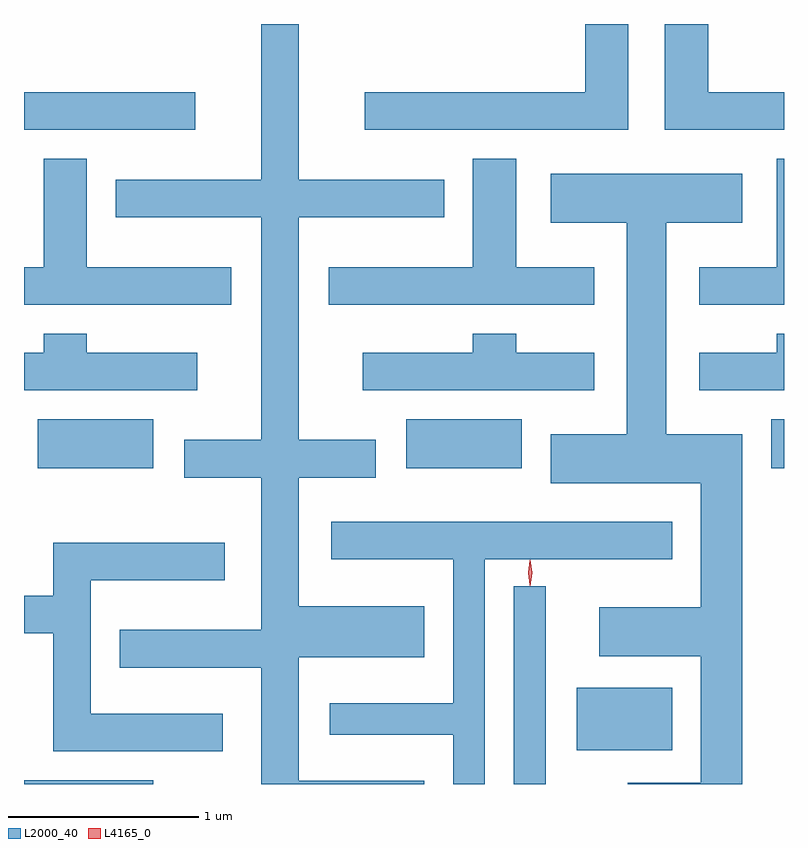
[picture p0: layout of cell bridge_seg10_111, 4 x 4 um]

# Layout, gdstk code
import gdstk
lib = gdstk.Library(unit=1e-6, precision=1e-09)
def R(c, l, rs):  # rectangles x0, y0, x1, y1
    for r in rs: c.add(gdstk.rectangle(r[:2], r[2:], *l))
def P(c, l, *ps):  # polygons
    for p in ps: c.add(gdstk.Polygon(p, *l))
L2000_40 = (2000, 40)
L4165_0 = (4165, 0)

bridge_seg10_111 = lib.new_cell('bridge_seg10_111')
R(bridge_seg10_111, L2000_40, [(1647.623,2141.133,1648.304,2141.154), (1650.201,2141.133,1650.369,2142.173), (1650.531,2141.311,1651.034,2141.639), (1647.696,2142.796,1648.304,2143.054), (1649.636,2142.796,1650.244,2143.054), (1651.556,2142.796,1651.623,2143.054), (1647.623,2144.576,1648.524,2144.774)])
P(bridge_seg10_111, L2000_40, [(1649.729,2141.149),(1649.069,2141.149),(1649.069,2141.801),(1649.729,2141.801),(1649.729,2142.069),(1649.069,2142.069),(1649.069,2142.746),(1649.474,2142.746),(1649.474,2142.944),(1649.069,2142.944),(1649.069,2144.116),(1649.834,2144.116),(1649.834,2144.314),(1649.069,2144.314),(1649.069,2145.133),(1648.871,2145.133),(1648.871,2144.314),(1648.106,2144.314),(1648.106,2144.116),(1648.871,2144.116),(1648.871,2142.944),(1648.466,2142.944),(1648.466,2142.746),(1648.871,2142.746),(1648.871,2141.944),(1648.126,2141.944),(1648.126,2141.746),(1648.871,2141.746),(1648.871,2141.133),(1649.729,2141.133)],
  [(1651.623,2144.774),(1651.224,2144.774),(1651.224,2145.133),(1650.996,2145.133),(1650.996,2144.576),(1651.623,2144.576)],
  [(1650.804,2145.133),(1650.576,2145.133),(1650.576,2144.774),(1649.416,2144.774),(1649.416,2144.576),(1650.804,2144.576)],
  [(1648.714,2143.854),(1647.954,2143.854),(1647.954,2144.424),(1647.726,2144.424),(1647.726,2143.854),(1647.623,2143.854),(1647.623,2143.656),(1648.714,2143.656)],
  [(1650.624,2143.854),(1650.214,2143.854),(1650.214,2144.424),(1649.986,2144.424),(1649.986,2143.854),(1649.226,2143.854),(1649.226,2143.656),(1650.624,2143.656)],
  [(1651.623,2144.424),(1651.586,2144.424),(1651.586,2143.854),(1651.176,2143.854),(1651.176,2143.656),(1651.623,2143.656)],
  [(1651.404,2142.974),(1651.004,2142.974),(1651.004,2144.086),(1651.404,2144.086),(1651.404,2144.344),(1650.396,2144.344),(1650.396,2144.086),(1650.796,2144.086),(1650.796,2142.974),(1650.396,2142.974),(1650.396,2142.716),(1651.186,2142.716),(1651.186,2142.064),(1650.651,2142.064),(1650.651,2141.806),(1651.186,2141.806),(1651.186,2141.139),(1650.801,2141.139),(1650.801,2141.133),(1651.404,2141.133)],
  [(1651.623,2143.504),(1651.586,2143.504),(1651.586,2143.404),(1651.176,2143.404),(1651.176,2143.206),(1651.623,2143.206)],
  [(1650.624,2143.404),(1650.214,2143.404),(1650.214,2143.504),(1649.986,2143.504),(1649.986,2143.404),(1649.406,2143.404),(1649.406,2143.206),(1650.624,2143.206)],
  [(1648.534,2143.404),(1647.954,2143.404),(1647.954,2143.504),(1647.726,2143.504),(1647.726,2143.404),(1647.623,2143.404),(1647.623,2143.206),(1648.534,2143.206)],
  [(1650.049,2142.316),(1651.034,2142.316),(1651.034,2142.514),(1649.241,2142.514),(1649.241,2142.316),(1649.881,2142.316),(1649.881,2141.559),(1649.233,2141.559),(1649.233,2141.391),(1649.881,2141.391),(1649.881,2141.133),(1650.049,2141.133)],
  [(1648.669,2141.504),(1647.974,2141.504),(1647.974,2142.206),(1648.679,2142.206),(1648.679,2142.404),(1647.776,2142.404),(1647.776,2142.124),(1647.623,2142.124),(1647.623,2141.926),(1647.776,2141.926),(1647.776,2141.306),(1648.669,2141.306)])
P(bridge_seg10_111, L4165_0, [(1650.286,2142.178),(1650.277,2142.244),(1650.286,2142.311),(1650.287,2142.311),(1650.287,2142.311),(1650.297,2142.244),(1650.287,2142.178),(1650.287,2142.178)],
  [(1650.288,2142.174),(1650.288,2142.175),(1650.278,2142.244),(1650.288,2142.313),(1650.288,2142.314),(1650.288,2142.313),(1650.298,2142.244),(1650.288,2142.175)])

lib.write_gds('bridge_seg10_111.gds')
